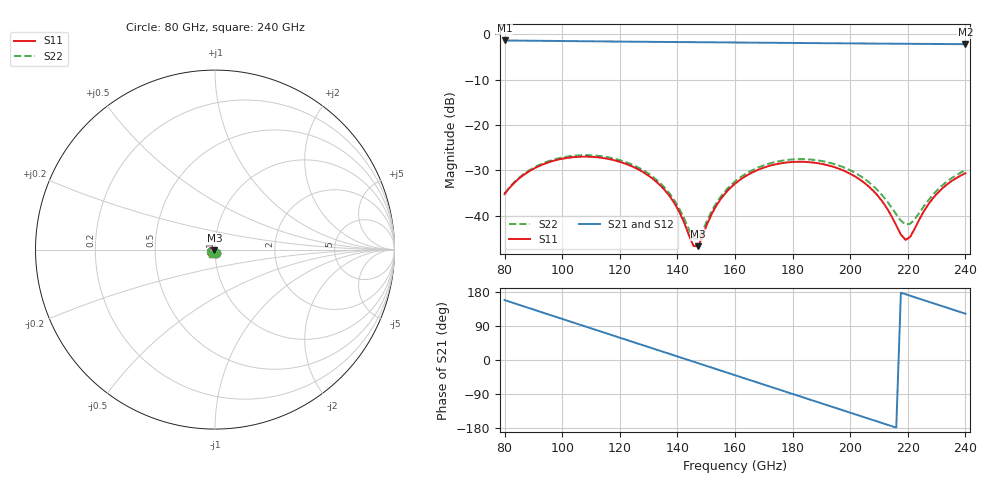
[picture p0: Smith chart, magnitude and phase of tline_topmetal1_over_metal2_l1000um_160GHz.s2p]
#  GHZ S DB R 50
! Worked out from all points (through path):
!   101 points, 80 GHz to 240 GHz, reference 50 ohm
!   highest |S21| = -1.38 dB at 80 GHz (marker M1); lowest = -2.2 dB at 240 GHz (marker M2)
!   group delay of S21, straight-line fit = 6.87 ps
!   lowest |S11| = -46.7 dB at 147.2 GHz (marker M3), VSWR 1.01, Z = 49.7 - j0.318 ohm
!   |S11| at or under -10 dB: start of sweep to end of sweep
!   |S22| runs from -45.1 to -26.7 dB; largest |S21 - S12| = 9.6e-14
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80  -35.24 -74.7  -1.38 158.1  -1.38 158.1  -35.15 -75.7
84.8  -31.93 -82.7  -1.41 146.1  -1.41 146.1  -31.77 -82.6
91.2  -29.29 -97.0  -1.45 130.3  -1.45 130.3  -29.07 -96.3
99.2  -27.57 -116.7  -1.50 110.4  -1.50 110.4  -27.29 -115.4
107.2  -27.00 -136.7  -1.55 90.6  -1.55 90.6  -26.68 -134.9
120  -28.14 -168.2  -1.63 58.9  -1.63 58.9  -27.75 -165.4
128  -30.37 173.4  -1.67 39.1  -1.67 39.1  -29.94 176.9
134.4  -33.55 161.0  -1.70 23.2  -1.70 23.2  -33.06 165.4
140.8  -39.36 156.8  -1.73 7.4  -1.73 7.4  -38.63 162.9
145.6  -46.70 -167.3  -1.76 -4.5  -1.76 -4.5  -45.03 -162.7
147.2  -46.73 -136.0  -1.76 -8.4  -1.76 -8.4  -45.14 -136.0
153.6  -37.71 -99.0  -1.79 -24.3  -1.79 -24.3  -37.15 -98.3
160  -32.96 -106.4  -1.83 -40.1  -1.83 -40.1  -32.47 -104.0
174.4  -28.65 -136.8  -1.90 -75.8  -1.90 -75.8  -28.11 -132.6
187.2  -28.30 -165.9  -1.97 -107.4  -1.97 -107.4  -27.69 -160.3
203.2  -31.98 160.6  -2.04 -146.9  -2.04 -146.9  -31.13 168.9
209.6  -35.62 152.0  -2.07 -162.7  -2.07 -162.7  -34.44 162.3
214.4  -40.17 154.9  -2.09 -174.5  -2.09 -174.5  -38.24 166.9
219.2  -45.34 -164.5  -2.11 173.6  -2.11 173.6  -41.93 -162.2
222.4  -42.87 -126.3  -2.12 165.7  -2.12 165.7  -40.82 -132.5
230.4  -34.98 -114.3  -2.16 145.9  -2.16 145.9  -34.26 -114.3
240  -30.66 -129.9  -2.20 122.2  -2.20 122.2  -30.00 -126.0
